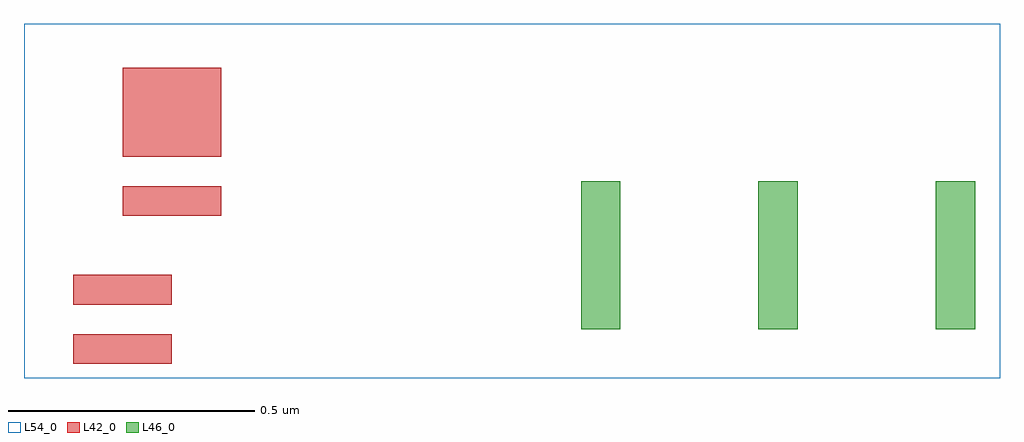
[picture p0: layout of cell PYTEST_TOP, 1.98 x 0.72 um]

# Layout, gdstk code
import gdstk
lib = gdstk.Library(unit=1e-6, precision=1e-09)
def R(c, l, rs):  # rectangles x0, y0, x1, y1
    for r in rs: c.add(gdstk.rectangle(r[:2], r[2:], *l))
def A(c, l, x, y, w, h, nx, ny, dx, dy):  # array of equal rectangles
    R(c, l, [(x+i*dx, y+j*dy, x+i*dx+w, y+j*dy+h) for i in range(nx) for j in range(ny)])
L42_0 = (42, 0)
L46_0 = (46, 0)
L54_0 = (54, 0)

pytest_top = lib.new_cell('PYTEST_TOP')
R(pytest_top, L42_0, [(0.1,0.03,0.3,0.09), (0.1,0.15,0.3,0.21), (0.2,0.33,0.4,0.39), (0.2,0.45,0.4,0.63)])
A(pytest_top, L46_0, 1.13, 0.1, 0.08, 0.3, 3, 1, 0.36, 0)
R(pytest_top, L54_0, [(0,0,1.98,0.72)])

lib.write_gds('PYTEST_TOP.gds')
